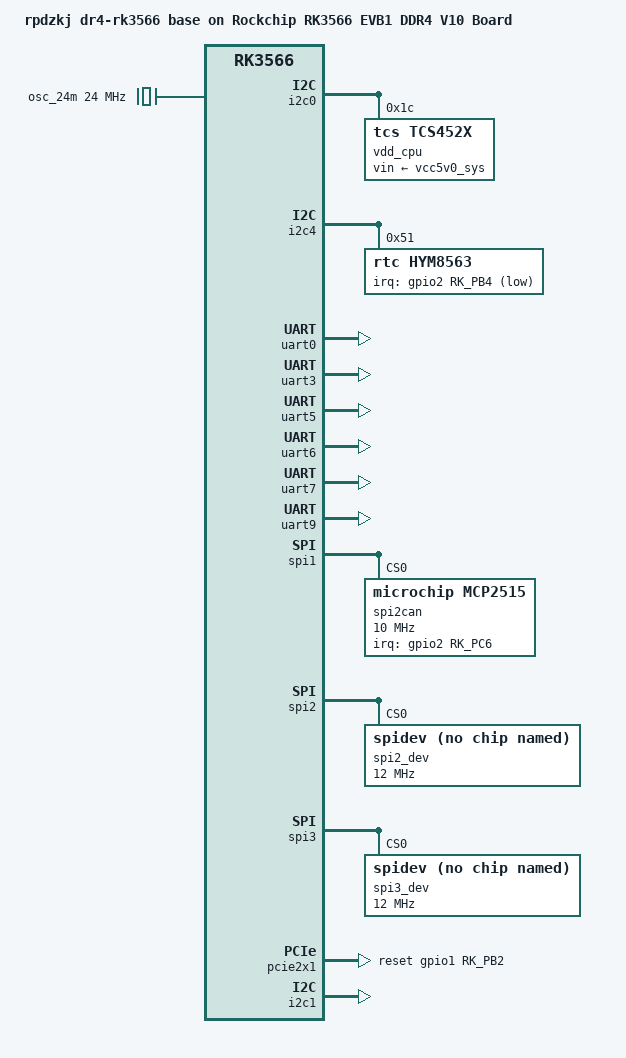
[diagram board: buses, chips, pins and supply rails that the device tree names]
// SPDX-License-Identifier: (GPL-2.0+ OR MIT)
/*
 * Copyright (c) 2020 Rockchip Electronics Co., Ltd.
 *
 */

/dts-v1/;

//rk3566-evb1-ddr4-v10
//#include "rk3566-evb1-ddr4-v10.dtsi"

#include "rk3566-evb-rpdzkj-rk809.dtsi"


#include "rk3568-linux.dtsi"
/*************************camera***********************/
#include "rp-mipi-camera-gc2093-rk3566.dtsi"
/***************************************************/


/*************************adc key***********************/
#include "rp-adc-key.dtsi"
/***************************************************/

/*************************gmac***********************/
#include "rp-gmac1-m0-pro-rk3566.dtsi"
/***************************************************/


/*************************pcie***********************/
#include "rk3568-pcie2x1.dtsi"
/***************************************************/

/***************** SINGLE LCD (LCD + HDMI) ****************/
#include "lcd-gpio-dr4-rk3566.dtsi"

/* HDMI only */
//#include "rp-lcd-hdmi.dtsi"

/** MIPI DSI0 */
//#include "rp-lcd-mipi0-5-720-1280-v2-boxTP.dtsi"
#include "rp-lcd-mipi0-7-720-1280.dtsi"
//#include "rp-lcd-mipi0-8-800-1280-v3.dtsi"
//#include "rp-lcd-mipi0-8-1200-1920.dtsi"
//#include "rp-lcd-mipi0-10-800-1280-v3.dtsi"
//#include "rp-lcd-mipi0-10-1200-1920.dtsi"

/** mipi0 to LVDS */
//#include "rp-lcd-mipi0tolvds-gm8775c-10-1024-600-raw.dtsi"
//#include "rp-lcd-mipi0tolvds-gm8775c-1920-1080.dtsi"

/** LVDS + HDMI */
//#include "rp-lcd-lvds-7-1024-600-v2.dtsi"

/** EDP */
//#include "rp-lcd-edp-13.3-15.6-1920-1080.dtsi"










/ {
	model = "rpdzkj dr4-rk3566 base on Rockchip RK3566 EVB1 DDR4 V10 Board";
	compatible = "rpdzkj,dr4-rk3566", "rockchip,rk3566";

        
        rp_power{
                status = "okay";
                compatible = "rp_power";
                rp_not_deep_sleep = <1>;

                //#define GPIO_FUNCTION_OUTPUT 0
                //#define GPIO_FUNCTION_INPUT 1
                //#define GPIO_FUNCTION_IRQ 2
                //#define GPIO_FUNCTION_FLASH 3
                //#define GPIO_FUNCTION_OUTPUT_CTRL 4
                
                /**
                 * gpioxxx {                    // the node name will display on /proc/rp_power, you can define any character string
                 *      gpio_num = <>;          // gpio you want ot control
                 *      gpio_function = <>;     // function of current gpio, refer to above define.
                 * };
                 */
                   
                
                /******* sytem power en pin, donnot change it only if you know what you are doing */
                pwr_en {	    //vdd 12v/5v/3.3v enable
                        gpio_num = <&gpio2 RK_PB3 GPIO_ACTIVE_HIGH>;
                        gpio_function = <0>;
                };
                
                vdd_3g {	    //vdd_3G 3.3v enable
                        gpio_num = <&gpio1 RK_PC7 GPIO_ACTIVE_HIGH>;
                        gpio_function = <4>;
                };
                
                spk_en {        //SPK ENABLE
                        gpio_num = <&gpio4 RK_PC4 GPIO_ACTIVE_HIGH>;
                        gpio_function = <4>;
                };

                spk_mute {      //SPK MUTE, high active, nomal low
                        gpio_num = <&gpio0 RK_PA0 GPIO_ACTIVE_LOW>;
                        gpio_function = <4>;
                };
                
                hub_rst {     //usb hub reset pin
                        gpio_num = <&gpio0 RK_PB0 GPIO_ACTIVE_HIGH>;
                        gpio_function = <4>;
                };
                
                host1_5v {     //host1 usb2.0 power en
                        gpio_num = <&gpio1 RK_PD1 GPIO_ACTIVE_HIGH>;
                        gpio_function = <4>;
                };
                
                host2_5v {     //host2 usb2.0 power en
                        gpio_num = <&gpio1 RK_PD2 GPIO_ACTIVE_HIGH>;
                        gpio_function = <4>;
                };
                
                host3_5v {     //host2 usb2.0 power en
                        gpio_num = <&gpio1 RK_PD4 GPIO_ACTIVE_HIGH>;
                        gpio_function = <4>;
                };
                
                usb20_5v {     //usb2.0 power en
                        gpio_num = <&gpio1 RK_PD3 GPIO_ACTIVE_HIGH>;
                        gpio_function = <4>;
                };
                
                usb30_5v {     //usb3.0 power en
                        gpio_num = <&gpio0 RK_PA6 GPIO_ACTIVE_HIGH>;
                        gpio_function = <4>;
                };
                
                otg_5v {     //OTG host power en
                        gpio_num = <&gpio0 RK_PA5 GPIO_ACTIVE_HIGH>;
                        gpio_function = <4>;
                };
                
                otg_mode {     //OTG SWITCH, high is mean otg_id to 0, foece host mode
                        gpio_num = <&gpio0 RK_PC2 GPIO_ACTIVE_LOW>;
                        gpio_function = <0>;
                };
                
                led {       //system led
                        gpio_num = <&gpio0 RK_PC6 GPIO_ACTIVE_HIGH>;
                        gpio_function = <4>;
                };
                
                fan {        //fan en
                        gpio_num = <&gpio0 RK_PC4 GPIO_ACTIVE_HIGH>;
                        gpio_function = <4>;
                };
        };


        rp_gpio{
                status = "okay";
                compatible = "rp_gpio";
                
                /***** gpio, add you want to control as blow */

                gpio0c5 {
                        gpio_num = <&gpio0 RK_PC5 GPIO_ACTIVE_HIGH>;
                        gpio_function = <0>;
                };
                gpio0c7 {
                        gpio_num = <&gpio0 RK_PC7 GPIO_ACTIVE_HIGH>;
                        gpio_function = <0>;
                };
                gpio1a4 {
                        gpio_num = <&gpio1 RK_PA4 GPIO_ACTIVE_HIGH>;
                        gpio_function = <0>;
                };                
	};
    
    /** 24M osc clock to mcp2515 */
    osc_24m: osc24m {
        compatible = "fixed-clock";
        #clock-cells = <0>;
        clock-frequency = <24000000>;
    };
};


&pmu_io_domains {
        status = "okay";
        pmuio2-supply = <&vcc3v3_pmu>;
        vccio1-supply = <&vccio_acodec>;
        vccio3-supply = <&vccio_sd>;
        vccio4-supply = <&vcc_3v3>;
        vccio5-supply = <&vcc_3v3>;
        vccio6-supply = <&vcc_1v8>;
        vccio7-supply = <&vcc_3v3>;
};

&pwm7 {
    /** disable for used to be led control */
    status = "disabled";
};

&i2c0 {
        status = "okay";
        vdd_cpu: tcs4525@1c {
                compatible = "tcs,tcs452x";
                reg = <0x1c>;
                vin-supply = <&vcc5v0_sys>;
                regulator-compatible = "fan53555-reg";
                regulator-name = "vdd_cpu";
                regulator-min-microvolt = <712500>;
                regulator-max-microvolt = <1390000>;
                regulator-init-microvolt = <1000000>;
                regulator-ramp-delay = <2300>;
                fcs,suspend-voltage-selector = <1>;
                regulator-boot-on;
                regulator-always-on;
                regulator-state-mem {
                        regulator-off-in-suspend;
                };
        };
};

&i2c4 {
	status = "okay";
	pinctrl-names = "default";
	pinctrl-0 = <&i2c4m1_xfer>;

        rtc@51 {
                status = "okay";
                compatible = "rtc,hym8563";
                reg = <0x51>;
                irq_gpio = <&gpio2 RK_PB4 GPIO_ACTIVE_LOW>;
        };
};

&i2c5 {
    status = "disabled";
};


&gmac1 {
    tx_delay = <0x49>;
    rx_delay = <0x2d>;
};


&uart0 {
    status = "okay";
};

&uart3 {
	status = "okay";
	pinctrl-names = "default";
	pinctrl-0 = <&uart3m0_xfer>;
};

&uart5 {
    status = "okay";
    pinctrl-names = "default";
    pinctrl-0 = <&uart5m1_xfer>;
};

&uart6 {
        status = "okay";
        pinctrl-names = "default";
        pinctrl-0 = <&uart6m0_xfer>;
};

&uart7 {
        status = "okay";
        pinctrl-names = "default";
        pinctrl-0 = <&uart7m0_xfer>;
};

&uart9 {
        status = "okay";
        pinctrl-names = "default";
        pinctrl-0 = <&uart9m0_xfer>;
};

&spi1 {
        status = "okay";
        /* rewrite pinctrl, for cs1 used to be gpio */
		pinctrl-0 = <&spi1m0_cs0 &spi1m0_pins>;
		pinctrl-1 = <&spi1m0_cs0 &spi1m0_pins_hs>;
        
        spi2can: mcp2515@0 {
            compatible = "microchip,mcp2515";
            reg = <0>;
            clocks = <&osc_24m>;
            interrupt-parent = <&gpio2>;
            interrupts = <RK_PC6 IRQ_TYPE_LEVEL_LOW>;
            // vdd-supply = <&reg5v0>;
            // xceiver-supply = <&reg5v0>;
            spi-max-frequency = <10000000>;
        };
};

&spi2 {
        status = "okay";
        /* rewrite pinctrl, for cs1 used to be gpio */
		pinctrl-0 = <&spi2m0_cs0 &spi2m0_pins>;
		pinctrl-1 = <&spi2m0_cs0 &spi2m0_pins_hs>;

    spi2_dev@0 {
        compatible = "rockchip,spidev";
        reg = <0>;
        spi-max-frequency = <12000000>;
        spi-lsb-first;
    };
};

&spi3 {
	status = "okay";
    
    /* rewrite pinctrl for cs1 used to be camera clk */
    pinctrl-0 = <&spi3m0_cs0 &spi3m0_pins>;
    pinctrl-1 = <&spi3m0_cs0 &spi3m0_pins_hs>;

    spi3_dev@0 {
        compatible = "rockchip,spidev";
        reg = <0>;
        spi-max-frequency = <12000000>;
        spi-lsb-first;
    };
};

/** camera config */
&vcc_camera {
    pinctrl-names = "default";
    pinctrl-0 = <&camera_pwr>;
    gpio = <&gpio4 RK_PA1 GPIO_ACTIVE_HIGH>;
};
&gc2093 {
    pwdn-gpios = <&gpio4 RK_PA0 GPIO_ACTIVE_HIGH>;
};
/** pinctrl of camera power en */
&camera_pwr {
    rockchip,pins =
        /* camera power en */
        <4 RK_PA1 RK_FUNC_GPIO &pcfg_pull_none>;
};

/***************************************************/

&dmc {
	status = "disabled";
};

&dfi {
	status = "disabled";
};

/** LCD configuration */
#ifdef RP_MIPI02LVDS
//pwm and enable pin may be inverted if use mipi2lvds

#if !defined(RP_DUALLVDS)
//but dual lvds donot need invert
&backlight4 {
    pwms = <&pwm4 0 25000 1>;
};
#else
&backlight4 {
    pwms = <&pwm4 0 25000 0>;
};
#endif
&vcc3v3_lcd_n {
    /delete-property/ enable-active-high;
    enable-active-low;
};
#endif


/** pcie2x1 configuration */
&vcc3v3_pcie {
    gpio = <&gpio1 RK_PD0 GPIO_ACTIVE_HIGH>;
};
&pcie2x1 {
    reset-gpios = <&gpio1 RK_PB2 GPIO_ACTIVE_HIGH>;
};




&i2c1 {
    status = "okay";
};
